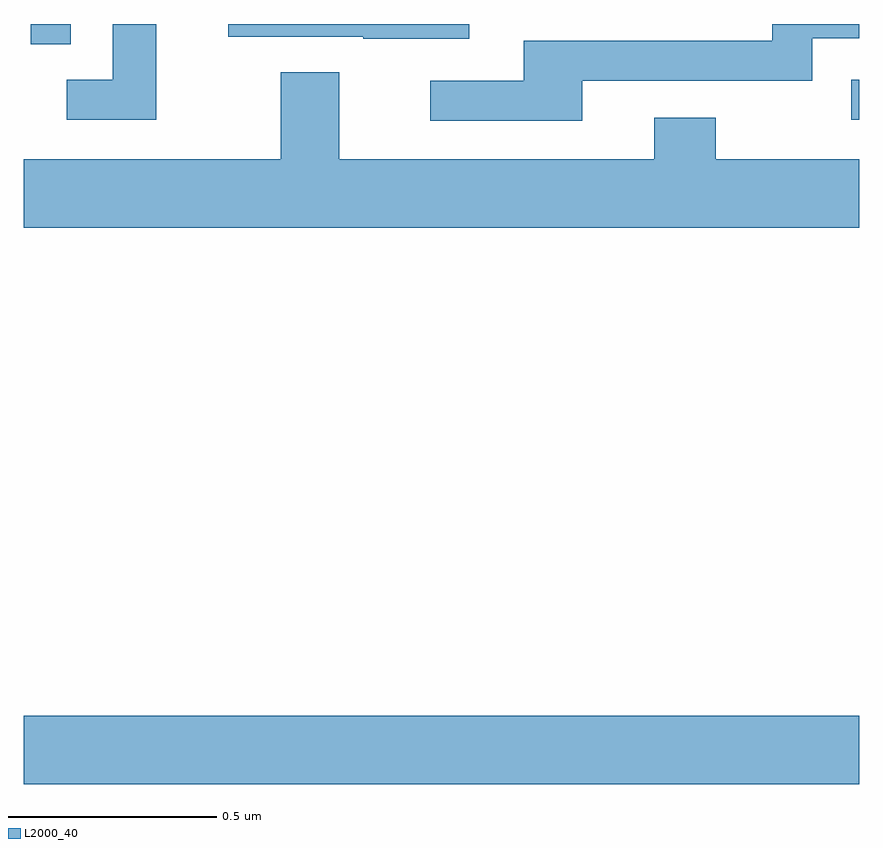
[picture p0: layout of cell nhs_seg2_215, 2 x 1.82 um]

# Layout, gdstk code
import gdstk
lib = gdstk.Library(unit=1e-6, precision=1e-09)
def R(c, l, rs):  # rectangles x0, y0, x1, y1
    for r in rs: c.add(gdstk.rectangle(r[:2], r[2:], *l))
def P(c, l, *ps):  # polygons
    for p in ps: c.add(gdstk.Polygon(p, *l))
L2000_40 = (2000, 40)

nhs_seg2_215 = lib.new_cell('nhs_seg2_215')
R(nhs_seg2_215, L2000_40, [(113,636.98,115,637.144), (114.981,638.571,115,638.667), (113.016,638.752,113.112,638.8)])
P(nhs_seg2_215, L2000_40, [(114.337,638.664),(114.888,638.664),(114.888,638.766),(115,638.766),(115,638.8),(114.792,638.8),(114.792,638.76),(114.197,638.76),(114.197,638.664),(113.973,638.664),(113.973,638.568),(114.337,638.568)],
  [(114.067,638.8),(113.489,638.8),(113.489,638.769),(113.813,638.769),(113.813,638.765),(114.067,638.765)],
  [(113.317,638.8),(113.213,638.8),(113.213,638.667),(113.103,638.667),(113.103,638.571),(113.317,638.571)],
  [(115,638.476),(114.657,638.476),(114.657,638.575),(114.509,638.575),(114.509,638.476),(113.755,638.476),(113.755,638.684),(113.615,638.684),(113.615,638.476),(113,638.476),(113,638.312),(115,638.312)])

lib.write_gds('nhs_seg2_215.gds')
